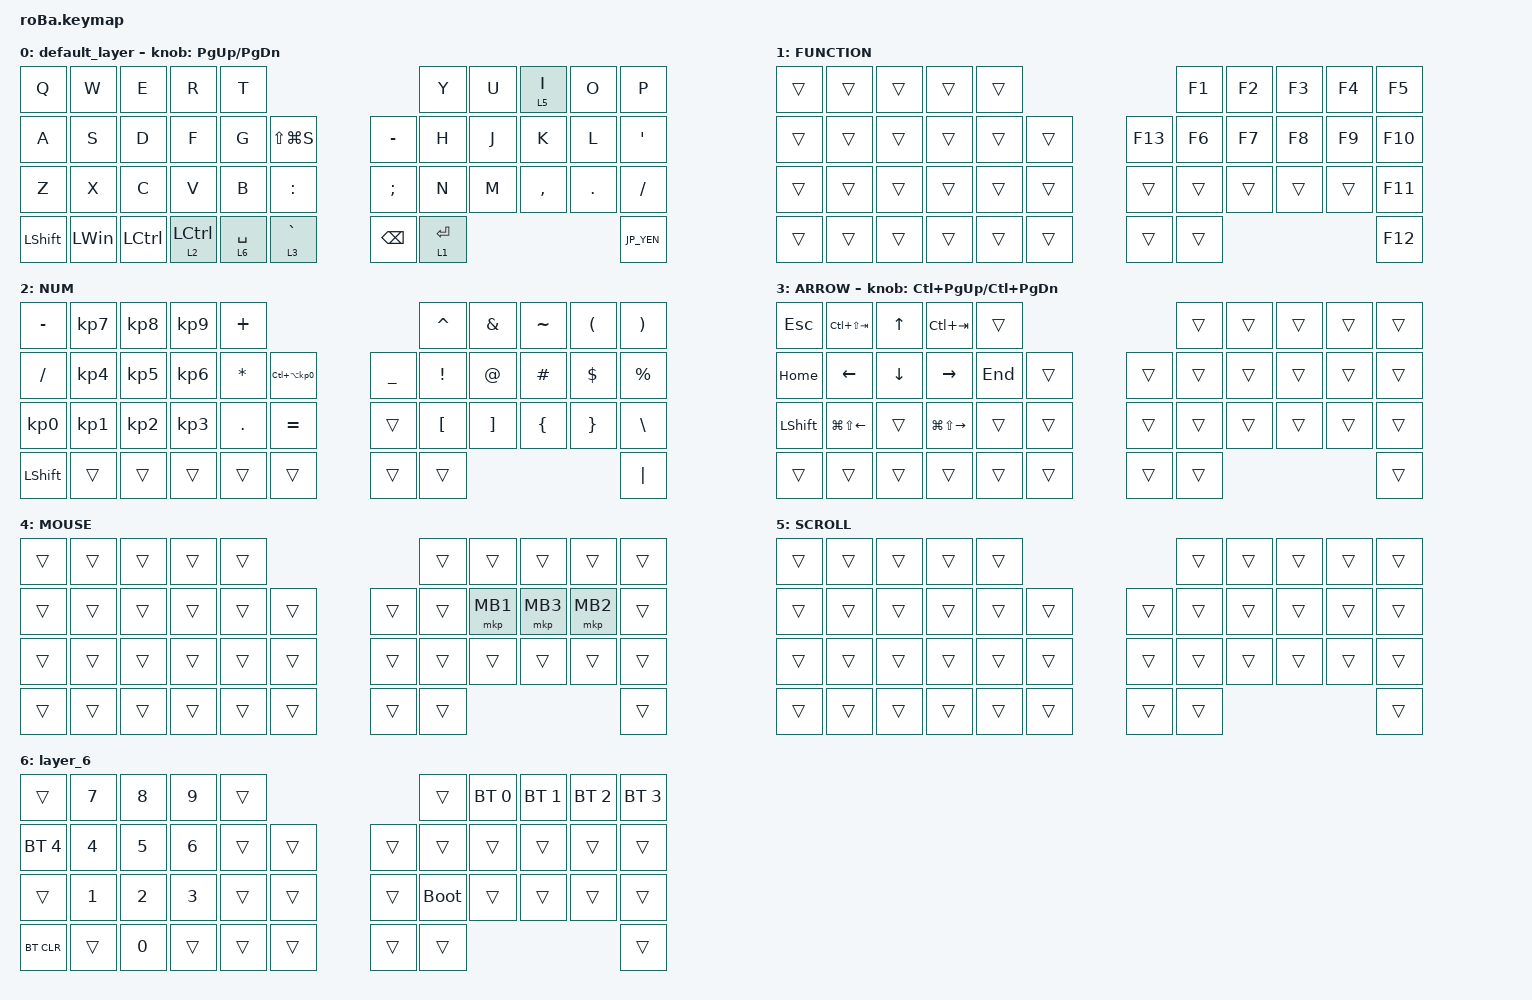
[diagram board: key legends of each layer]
#include <behaviors.dtsi>
#include <dt-bindings/zmk/bt.h>
#include <dt-bindings/zmk/keys.h>
#include <dt-bindings/zmk/pointing.h>

// OS設定を日本語キーボードのまま使用するための変換定義

#define JP_DQUOTE       AT                // "
#define JP_AMPERSAND    CARET             // &
#define JP_QUOTE        AMPERSAND         // '
#define JP_EQUAL        UNDER             // =
#define JP_CARET        EQUAL             // ^
#define JP_YEN          0x89              // ¥
#define JP_PLUS         COLON             // +
#define JP_TILDE        PLUS              // ~
#define JP_PIPE         LS(0x89)          // |
#define JP_AT           LEFT_BRACKET      // @
#define JP_COLON        SINGLE_QUOTE      // :
#define JP_ASTERISK     DOUBLE_QUOTES     // *
#define JP_BACKQUOTE    LEFT_BRACE        // `
#define JP_UNDERSCORE   LS(0x87)          // _
#define JP_LBRACKET     RIGHT_BRACKET     // [
#define JP_RBRACKET     BACKSLASH         // ]
#define JP_LPAREN       ASTERISK          // (
#define JP_RPAREN       LEFT_PARENTHESIS  // )
#define JP_LBRACE       RIGHT_BRACE       // {
#define JP_RBRACE       PIPE              // }
#define JP_KANA         LANGUAGE_1        // かな
#define JP_EISU         LANGUAGE_2        // 英数
#define JP_HANZEN       GRAVE             // 半角/全角

&mt {
    flavor = "balanced";
    quick-tap-ms = <0>;
};

&trackball {
    automouse-layer = <4>;
    scroll-layers = <5>;

    // arrows {
    //     layers = <3>;
    //     bindings =
    //         <&kp RIGHT_ARROW>,
    //         <&kp LEFT_ARROW>,
    //         <&kp UP_ARROW>,
    //         <&kp DOWN_ARROW>;
    //     tick = <10>;
    //     wait-ms = <5>;
    //     tap-ms = <5>;
    // };
};

/ {
    combos {
        compatible = "zmk,combos";

        tab {
            bindings = <&kp TAB>;
            key-positions = <11 12>;
        };

        shift_tab {
            bindings = <&kp LS(TAB)>;
            key-positions = <12 13>;
        };

        double_quotation {
            bindings = <&kp DOUBLE_QUOTES>;
            key-positions = <20 21>;
        };

        eq {
            bindings = <&kp EQUAL>;
            key-positions = <24 25>;
        };
    };

    macros {
        to_layer_0: to_layer_0 {
            compatible = "zmk,behavior-macro-one-param";
            #binding-cells = <1>;
            bindings = <&to 0 &macro_param_1to1 &kp MACRO_PLACEHOLDER>;
            label = "TO_LAYER_0";
        };
    };

    behaviors {
        lt_to_layer_0: lt_to_layer_0 {
            compatible = "zmk,behavior-hold-tap";
            label = "LAYER_TAP_TO_0";
            bindings = <&mo>, <&to_layer_0>;

            #binding-cells = <2>;
            tapping-term-ms = <200>;
        };
    };

    keymap {
        compatible = "zmk,keymap";

        default_layer {
            bindings = <
&kp Q           &kp W         &kp E      &kp R        &kp T                                                       &kp Y                   &kp U  &lt 5 I    &kp O    &kp P
&kp A           &kp S         &kp D      &kp F        &kp G        &kp LS(LG(S))                   &kp MINUS      &kp H                   &kp J  &kp K      &kp L    &kp SQT
&kp Z           &kp X         &kp C      &kp V        &kp B        &kp COLON                       &kp SEMICOLON  &kp N                   &kp M  &kp COMMA  &kp DOT  &kp SLASH
&kp LEFT_SHIFT  &kp LEFT_WIN  &kp LCTRL  &lt 2 LCTRL  &lt 6 SPACE  &lt_to_layer_0 3 JP_HANZEN      &kp BACKSPACE  &lt_to_layer_0 1 ENTER                             &kp JP_YEN
            >;

            sensor-bindings = <&inc_dec_kp PG_UP PAGE_DOWN>;
        };

        FUNCTION {
            bindings = <
&trans  &trans  &trans  &trans  &trans                       &kp F1  &kp F2  &kp F3  &kp F4  &kp F5
&trans  &trans  &trans  &trans  &trans  &trans      &kp F13  &kp F6  &kp F7  &kp F8  &kp F9  &kp F10
&trans  &trans  &trans  &trans  &trans  &trans      &trans   &trans  &trans  &trans  &trans  &kp F11
&trans  &trans  &trans  &trans  &trans  &trans      &trans   &trans                          &kp F12
            >;
        };

        NUM {
            bindings = <
&kp MINUS        &kp KP_NUMBER_7  &kp KP_NUMBER_8  &kp KP_NUMBER_9  &kp PLUS                                                   &kp CARET         &kp AMPERSAND      &kp TILDE       &kp LEFT_PARENTHESIS  &kp RIGHT_PARENTHESIS
&kp SLASH        &kp KP_NUMBER_4  &kp KP_NUMBER_5  &kp KP_NUMBER_6  &kp ASTERISK  &kp LC(LA(KP_NUMBER_0))      &kp UNDERSCORE  &kp EXCLAMATION   &kp AT_SIGN        &kp HASH        &kp DOLLAR            &kp PERCENT
&kp KP_NUMBER_0  &kp KP_NUMBER_1  &kp KP_NUMBER_2  &kp KP_NUMBER_3  &kp PERIOD    &kp EQUAL                    &trans          &kp LEFT_BRACKET  &kp RIGHT_BRACKET  &kp LEFT_BRACE  &kp RIGHT_BRACE       &kp BACKSLASH
&kp LEFT_SHIFT   &trans           &trans           &trans           &trans        &trans                       &trans          &trans                                                                     &kp PIPE
            >;
        };

        ARROW {
            bindings = <
&kp ESCAPE      &kp LC(LS(TAB))         &kp UP_ARROW    &kp LC(TAB)              &trans                       &trans  &trans  &trans  &trans  &trans
&kp HOME        &kp LEFT_ARROW          &kp DOWN_ARROW  &kp RIGHT_ARROW          &kp END  &trans      &trans  &trans  &trans  &trans  &trans  &trans
&kp LEFT_SHIFT  &kp LG(LS(LEFT_ARROW))  &trans          &kp LG(LS(RIGHT_ARROW))  &trans   &trans      &trans  &trans  &trans  &trans  &trans  &trans
&trans          &trans                  &trans          &trans                   &trans   &trans      &trans  &trans                          &trans
            >;

            sensor-bindings = <&inc_dec_kp LC(PAGE_UP) LC(PAGE_DOWN)>;
        };

        MOUSE {
            bindings = <
&trans  &trans  &trans  &trans  &trans                      &trans  &trans    &trans    &trans    &trans
&trans  &trans  &trans  &trans  &trans  &trans      &trans  &trans  &mkp MB1  &mkp MB3  &mkp MB2  &trans
&trans  &trans  &trans  &trans  &trans  &trans      &trans  &trans  &trans    &trans    &trans    &trans
&trans  &trans  &trans  &trans  &trans  &trans      &trans  &trans                                &trans
            >;
        };

        SCROLL {
            bindings = <
&trans  &trans  &trans  &trans  &trans                      &trans  &trans  &trans  &trans  &trans
&trans  &trans  &trans  &trans  &trans  &trans      &trans  &trans  &trans  &trans  &trans  &trans
&trans  &trans  &trans  &trans  &trans  &trans      &trans  &trans  &trans  &trans  &trans  &trans
&trans  &trans  &trans  &trans  &trans  &trans      &trans  &trans                          &trans
            >;
        };

        layer_6 {
            bindings = <
&trans        &kp NUMBER_7  &kp NUMBER_8  &kp NUMBER_9  &trans                      &trans       &bt BT_SEL 0  &bt BT_SEL 1  &bt BT_SEL 2  &bt BT_SEL 3
&bt BT_SEL 4  &kp NUMBER_4  &kp NUMBER_5  &kp NUMBER_6  &trans  &trans      &trans  &trans       &trans        &trans        &trans        &trans
&trans        &kp NUMBER_1  &kp NUMBER_2  &kp NUMBER_3  &trans  &trans      &trans  &bootloader  &trans        &trans        &trans        &trans
&bt BT_CLR    &trans        &kp NUMBER_0  &trans        &trans  &trans      &trans  &trans                                                 &trans
            >;
        };
    };
};
